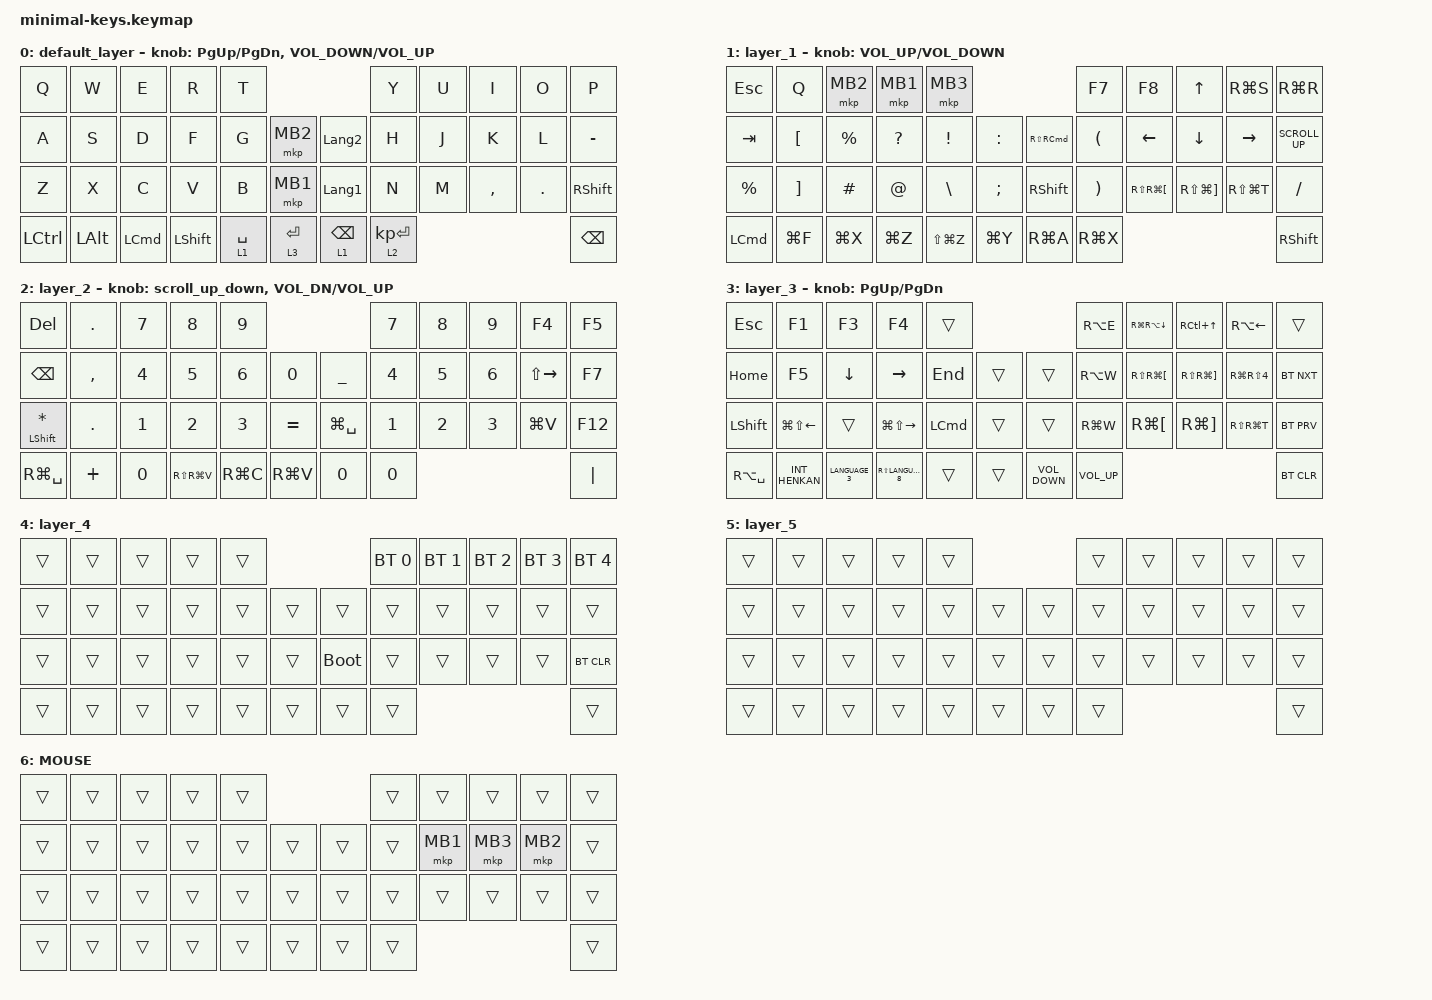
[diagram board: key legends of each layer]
#include <behaviors.dtsi>
#include <dt-bindings/zmk/bt.h>
#include <dt-bindings/zmk/keys.h>
#include <dt-bindings/zmk/pointing.h>

#undef ZMK_POINTING_DEFAULT_SCRL_VAL

#define ZMK_POINTING_DEFAULT_SCRL_VAL 100
#define MOUSE 6

&mt {
    flavor = "balanced";
    quick-tap-ms = <0>;
};

/ {
    combos { compatible = "zmk,combos"; };

    macros {
        to_layer_0: to_layer_0 {
            compatible = "zmk,behavior-macro-one-param";
            #binding-cells = <1>;
            bindings = <&to 0 &macro_param_1to1 &kp MACRO_PLACEHOLDER>;
            label = "TO_LAYER_0";
        };
    };

    behaviors {
        lt_to_layer_0: lt_to_layer_0 {
            compatible = "zmk,behavior-hold-tap";
            label = "LAYER_TAP_TO_0";
            bindings = <&mo>, <&to_layer_0>;

            #binding-cells = <2>;
            tapping-term-ms = <200>;
        };

        scroll_up_down: behavior_sensor_rotate_mouse_wheel_up_down {
            compatible = "zmk,behavior-sensor-rotate";
            #sensor-binding-cells = <0>;
            bindings = <&msc SCRL_UP>, <&msc SCRL_DOWN>;

            tap-ms = <20>;
        };

        scroll: scroll {
            compatible = "zmk,behavior-sensor-rotate";
            label = "SCROLL";
            #sensor-binding-cells = <0>;
            bindings = <&msc SCRL_DOWN>, <&msc SCRL_UP>;
        };
    };

    keymap {
        compatible = "zmk,keymap";

        default_layer {
            bindings = <
&kp Q      &kp W         &kp E             &kp R           &kp T                                        &kp Y           &kp U  &kp I      &kp O    &kp P
&kp A      &kp S         &kp D             &kp F           &kp G        &mkp MB2       &kp LANGUAGE_2   &kp H           &kp J  &kp K      &kp L    &kp MINUS
&kp Z      &kp X         &kp C             &kp V           &kp B        &mkp MB1       &kp LANGUAGE_1   &kp N           &kp M  &kp COMMA  &kp DOT  &kp RIGHT_SHIFT
&kp LCTRL  &kp LEFT_ALT  &kp LEFT_COMMAND  &kp LEFT_SHIFT  &lt 1 SPACE  &lt 3 ENTER    &lt 1 BACKSPACE  &lt 2 KP_ENTER                             &kp BACKSPACE
            >;

            sensor-bindings =
                <&inc_dec_kp PAGE_UP PAGE_DOWN>,
                <&inc_dec_kp C_VOLUME_DOWN C_VOLUME_UP>;
        };

        layer_1 {
            bindings = <
&kp ESCAPE        &kp Q              &mkp MB2     &mkp MB1      &mkp MB3                                       &kp F7                 &kp F8                    &kp UP_ARROW               &kp RG(S)        &kp RG(R)
&kp TAB           &kp LEFT_BRACKET   &kp PERCENT  &kp QUESTION  &kp EXCLAMATION  &kp COLON    &kp RS(RCMD)     &kp LEFT_PARENTHESIS   &kp LEFT_ARROW            &kp DOWN_ARROW             &kp RIGHT_ARROW  &kp K_SCROLL_UP
&kp PERCENT       &kp RIGHT_BRACKET  &kp POUND    &kp AT        &kp BACKSLASH    &kp SEMI     &kp RIGHT_SHIFT  &kp RIGHT_PARENTHESIS  &kp RS(RG(LEFT_BRACKET))  &kp RS(LG(RIGHT_BRACKET))  &kp RS(LG(T))    &kp SLASH
&kp LEFT_COMMAND  &kp LG(F)          &kp LG(X)    &kp LG(Z)     &kp LS(LG(Z))    &kp LG(Y)    &kp RG(A)        &kp RG(X)                                                                                    &kp RIGHT_SHIFT
            >;

            sensor-bindings = <&inc_dec_kp C_VOLUME_UP C_VOLUME_DOWN>;
        };

        layer_2 {
            bindings = <
&kp DEL               &kp PERIOD  &kp NUMBER_7  &kp NUMBER_8   &kp NUMBER_9                                  &kp NUMBER_7  &kp NUMBER_8  &kp NUMBER_9  &kp F4               &kp F5
&kp BACKSPACE         &kp COMMA   &kp NUMBER_4  &kp NUMBER_5   &kp NUMBER_6  &kp NUMBER_0    &kp UNDERSCORE  &kp NUMBER_4  &kp NUMBER_5  &kp NUMBER_6  &kp LS(RIGHT_ARROW)  &kp F7
&mt LEFT_SHIFT ASTRK  &kp PERIOD  &kp NUMBER_1  &kp NUMBER_2   &kp NUMBER_3  &kp EQUAL       &kp LG(SPACE)   &kp NUMBER_1  &kp NUMBER_2  &kp NUMBER_3  &kp LG(V)            &kp F12
&kp RG(SPACE)         &kp PLUS    &kp NUMBER_0  &kp RS(RG(V))  &kp RG(C)     &kp RG(V)       &kp NUMBER_0    &kp NUMBER_0                                                   &kp PIPE
            >;

            sensor-bindings =
                <&scroll_up_down>,
                <&inc_dec_kp C_VOL_DN C_VOL_UP>;
        };

        layer_3 {
            bindings = <
&kp ESCAPE      &kp F1                  &kp F3          &kp F4                   &trans                                         &kp RA(E)        &kp RG(RA(DOWN_ARROW))    &kp RC(UP_ARROW)           &kp RA(LEFT_ARROW)    &trans
&kp HOME        &kp F5                  &kp DOWN_ARROW  &kp RIGHT_ARROW          &kp END           &trans    &trans             &kp RA(W)        &kp RS(RG(LEFT_BRACKET))  &kp RS(RG(RIGHT_BRACKET))  &kp RG(RS(NUMBER_4))  &bt BT_NXT
&kp LEFT_SHIFT  &kp LG(LS(LEFT_ARROW))  &trans          &kp LG(LS(RIGHT_ARROW))  &kp LEFT_COMMAND  &trans    &trans             &kp RG(W)        &kp RG(LEFT_BRACKET)      &kp RG(RIGHT_BRACKET)      &kp RS(RG(T))         &bt BT_PRV
&kp RA(SPACE)   &kp INT_HENKAN          &kp LANGUAGE_3  &kp RS(LANGUAGE_8)       &trans            &trans    &kp C_VOLUME_DOWN  &kp C_VOLUME_UP                                                                             &bt BT_CLR
            >;

            sensor-bindings = <&inc_dec_kp PAGE_UP PAGE_DOWN>;
        };

        layer_4 {
            bindings = <
&trans  &trans  &trans  &trans  &trans                         &bt BT_SEL 0  &bt BT_SEL 1  &bt BT_SEL 2  &bt BT_SEL 3  &bt BT_SEL 4
&trans  &trans  &trans  &trans  &trans  &trans    &trans       &trans        &trans        &trans        &trans        &trans
&trans  &trans  &trans  &trans  &trans  &trans    &bootloader  &trans        &trans        &trans        &trans        &bt BT_CLR
&trans  &trans  &trans  &trans  &trans  &trans    &trans       &trans                                                  &trans
            >;
        };

        layer_5 {
            bindings = <
&trans  &trans  &trans  &trans  &trans                    &trans  &trans  &trans  &trans  &trans
&trans  &trans  &trans  &trans  &trans  &trans    &trans  &trans  &trans  &trans  &trans  &trans
&trans  &trans  &trans  &trans  &trans  &trans    &trans  &trans  &trans  &trans  &trans  &trans
&trans  &trans  &trans  &trans  &trans  &trans    &trans  &trans                          &trans
            >;
        };

        MOUSE {
            bindings = <
&trans  &trans  &trans  &trans  &trans                    &trans  &trans    &trans    &trans    &trans
&trans  &trans  &trans  &trans  &trans  &trans    &trans  &trans  &mkp MB1  &mkp MB3  &mkp MB2  &trans
&trans  &trans  &trans  &trans  &trans  &trans    &trans  &trans  &trans    &trans    &trans    &trans
&trans  &trans  &trans  &trans  &trans  &trans    &trans  &trans                                &trans
            >;
        };
    };
};
